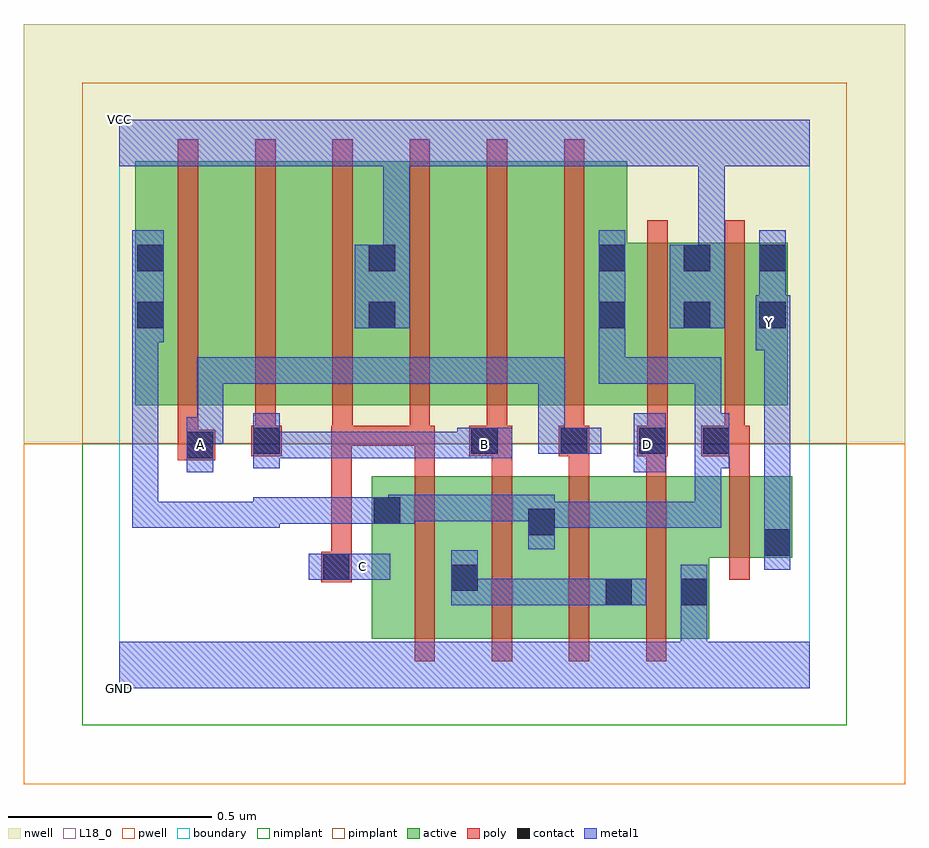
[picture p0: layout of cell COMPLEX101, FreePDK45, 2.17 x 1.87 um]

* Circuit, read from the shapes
.subckt COMPLEX101 A B C D GND VCC Y
M1 n1 C n2 VSUBS nfet w=0.4u l=0.05u
M2 n2 B n1 VSUBS nfet w=0.4u l=0.05u
M3 n1 A n2 VSUBS nfet w=0.4u l=0.05u
M4 GND D n1 VSUBS nfet w=0.4u l=0.05u
M5 Y n2 GND VSUBS nfet w=0.2u l=0.05u
M6 n3 A n2 n4 pfet w=0.6u l=0.05u
M7 n5 B n3 n4 pfet w=0.6u l=0.05u
M8 VCC C n5 n4 pfet w=0.6u l=0.05u
M9 n6 C VCC n4 pfet w=0.6u l=0.05u
M10 n7 B n6 n4 pfet w=0.6u l=0.05u
M11 n2 A n7 n4 pfet w=0.6u l=0.05u
M12 VCC D n2 n4 pfet w=0.4u l=0.05u
M13 Y n2 VCC n4 pfet w=0.4u l=0.05u
.ends

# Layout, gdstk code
import gdstk
lib = gdstk.Library(unit=1e-6, precision=1e-09)
def R(c, l, rs):  # rectangles x0, y0, x1, y1
    for r in rs: c.add(gdstk.rectangle(r[:2], r[2:], *l))
def A(c, l, x, y, w, h, nx, ny, dx, dy):  # array of equal rectangles
    R(c, l, [(x+i*dx, y+j*dy, x+i*dx+w, y+j*dy+h) for i in range(nx) for j in range(ny)])
active = (1, 0)
pwell = (2, 0)
nwell = (3, 0)
nimplant = (4, 0)
pimplant = (5, 0)
poly = (9, 0)
contact = (10, 0)
metal1 = (11, 0)
L18_0 = (18, 0)
boundary = (235, 0)

complex101 = lib.new_cell('COMPLEX101')
A(complex101, active, 0.622, 0.122, 0.265, 0.4, 3, 1, 0.19, 0)
A(complex101, active, 0.812, 0.147, 0.075, 0.345, 3, 1, 0.19, 0)
R(complex101, active, [(1.192,0.122,1.452,0.522), (0.622,0.147,0.697,0.522), (1.377,0.2,1.452,0.397), (1.377,0.322,1.657,0.522), (1.582,0.322,1.657,0.522), (0.04,0.697,0.265,1.297), (0.04,0.697,0.145,1.2), (0.265,0.697,0.455,1.297), (0.455,0.697,0.685,1.297), (0.61,0.697,0.835,1.297), (0.835,0.697,1.025,1.297), (1.025,0.697,1.25,1.297), (1.175,0.697,1.46,1.097), (1.175,0.697,1.25,1.2), (1.385,0.697,1.645,1.097), (1.57,0.697,1.645,1.097), (0.61,0.707,0.685,1.297), (1.385,0.802,1.46,1.097)])
R(complex101, pwell, [(-0.235,-0.235,1.935,0.602)])
R(complex101, nwell, [(-0.235,0.602,1.935,1.635)])
R(complex101, nimplant, [(-0.09,-0.09,1.79,0.602)])
R(complex101, pimplant, [(-0.09,0.602,1.79,1.49)])
A(complex101, poly, 0.727, 0.067, 0.05, 0.51, 4, 1, 0.19, 0)
A(complex101, poly, 0.917, 0.527, 0.05, 0.095, 3, 1, 0.19, 0)
A(complex101, poly, 0.335, 0.597, 0.05, 0.095, 5, 1, 0.19, 0)
A(complex101, poly, 0.145, 0.642, 0.05, 0.71, 6, 1, 0.19, 0)
R(complex101, poly, [(0.497,0.262,0.572,0.337), (1.502,0.267,1.552,0.577), (0.522,0.287,0.572,0.647), (0.727,0.527,0.777,0.647), (1.502,0.527,1.552,0.622), (0.145,0.562,0.237,0.637), (0.325,0.572,0.4,0.647), (0.862,0.572,0.967,0.647), (1.082,0.572,1.157,0.647), (1.275,0.572,1.35,0.647), (1.432,0.572,1.552,0.647), (0.145,0.587,0.195,0.692), (0.522,0.597,0.572,0.647), (0.522,0.597,0.572,0.647), (0.522,0.597,0.575,0.647), (0.525,0.597,0.765,0.647), (0.525,0.597,0.575,0.647), (0.525,0.597,0.575,0.647), (0.715,0.597,0.777,0.647), (1.3,0.597,1.35,0.692), (1.49,0.597,1.54,0.692), (1.3,0.642,1.35,1.152), (1.49,0.642,1.54,1.152)])
R(complex101, contact, [(1.197,0.205,1.262,0.27), (1.382,0.205,1.447,0.27), (0.817,0.24,0.882,0.305), (0.502,0.267,0.567,0.332), (1.587,0.327,1.652,0.392), (1.007,0.377,1.072,0.442), (0.627,0.405,0.692,0.47), (0.167,0.567,0.232,0.632), (0.33,0.577,0.395,0.642), (0.867,0.577,0.932,0.642), (1.087,0.577,1.152,0.642), (1.28,0.577,1.345,0.642), (1.437,0.577,1.502,0.642), (0.045,0.887,0.11,0.952), (0.615,0.887,0.68,0.952), (1.18,0.887,1.245,0.952), (1.39,0.887,1.455,0.952), (1.575,0.887,1.64,0.952), (0.045,1.027,0.11,1.092), (0.615,1.027,0.68,1.092), (1.18,1.027,1.245,1.092), (1.39,1.027,1.455,1.092), (1.575,1.027,1.64,1.092)])
R(complex101, metal1, [(0,0,1.7,0.115), (1.382,0.05,1.447,0.235), (1.382,0.17,1.447,0.305), (0.817,0.205,0.882,0.34), (0.817,0.205,0.967,0.27), (0.902,0.205,0.967,0.27), (0.902,0.205,1.072,0.27), (1.007,0.205,1.072,0.27), (1.007,0.205,1.105,0.27), (1.04,0.205,1.105,0.27), (1.04,0.205,1.227,0.27), (1.162,0.205,1.297,0.27), (0.467,0.267,0.667,0.332), (1.587,0.292,1.652,0.427), (1.007,0.342,1.072,0.477), (1.587,0.362,1.652,0.897), (0.032,0.395,0.097,0.46), (0.032,0.395,0.097,0.46), (0.032,0.395,0.097,0.46), (0.032,0.395,0.097,0.46), (0.032,0.395,0.097,0.46), (0.032,0.395,0.257,0.46), (0.032,0.395,0.097,0.917), (0.192,0.395,0.257,0.46), (0.192,0.395,0.395,0.46), (0.33,0.395,0.395,0.47), (1.007,0.395,1.105,0.46), (1.04,0.395,1.105,0.46), (1.04,0.395,1.242,0.46), (1.177,0.395,1.242,0.46), (1.177,0.395,1.242,0.46), (1.177,0.395,1.242,0.46), (1.177,0.395,1.482,0.46), (1.417,0.395,1.482,0.46), (1.417,0.395,1.482,0.677), (0.33,0.405,0.395,0.47), (0.33,0.405,0.395,0.47), (0.33,0.405,0.532,0.47), (0.467,0.405,0.532,0.47), (0.467,0.405,0.657,0.47), (0.592,0.405,0.727,0.47), (0.662,0.405,0.727,0.47), (0.662,0.405,0.727,0.477), (0.662,0.412,0.865,0.477), (0.8,0.412,0.865,0.477), (0.8,0.412,0.865,0.477), (0.8,0.412,0.865,0.477), (0.8,0.412,1.072,0.477), (0.167,0.532,0.232,0.667), (1.267,0.532,1.345,0.677), (0.33,0.542,0.395,0.677), (1.437,0.542,1.502,0.677), (0.33,0.567,0.395,0.632), (0.33,0.567,0.395,0.632), (0.33,0.567,0.532,0.632), (0.467,0.567,0.532,0.632), (0.467,0.567,0.67,0.632), (0.605,0.567,0.67,0.632), (0.605,0.567,0.67,0.632), (0.605,0.567,0.67,0.632), (0.605,0.567,0.897,0.632), (0.832,0.567,0.897,0.632), (0.832,0.567,0.897,0.632), (0.832,0.567,0.967,0.642), (1.032,0.577,1.097,0.642), (1.032,0.577,1.117,0.642), (1.032,0.577,1.097,0.815), (1.052,0.577,1.187,0.642), (0.167,0.602,0.257,0.667), (0.192,0.602,0.257,0.667), (0.192,0.602,0.257,0.815), (1.417,0.612,1.482,0.677), (1.417,0.612,1.502,0.677), (1.417,0.612,1.482,0.815), (0.192,0.75,0.257,0.815), (0.192,0.75,0.395,0.815), (0.33,0.75,0.395,0.815), (0.33,0.75,0.395,0.815), (0.33,0.75,0.395,0.815), (0.33,0.75,0.532,0.815), (0.467,0.75,0.532,0.815), (0.467,0.75,0.67,0.815), (0.605,0.75,0.67,0.815), (0.605,0.75,0.67,0.815), (0.605,0.75,0.67,0.815), (0.605,0.75,0.935,0.815), (0.87,0.75,0.935,0.815), (0.87,0.75,0.935,0.815), (0.87,0.75,0.935,0.815), (0.87,0.75,1.097,0.815), (1.032,0.75,1.097,0.815), (1.18,0.75,1.482,0.815), (1.18,0.75,1.245,0.917), (1.417,0.75,1.482,0.815), (1.567,0.832,1.652,0.967), (0.032,0.852,0.11,1.127), (1.18,0.852,1.245,0.917), (1.18,0.852,1.245,1.127), (1.575,0.852,1.64,0.917), (1.575,0.852,1.64,1.127), (0.58,0.887,0.715,1.092), (1.355,0.887,1.49,1.092), (0.65,1.027,0.715,1.35), (1.425,1.027,1.49,1.35), (0,1.285,1.7,1.4), (1.425,1.285,1.49,1.35), (1.425,1.285,1.49,1.35)])
R(complex101, L18_0, [(0,0,1.7,0.115), (1.382,0.05,1.447,0.235), (1.382,0.17,1.447,0.305), (0.467,0.267,0.667,0.332), (0.567,0.267,0.632,0.332), (1.587,0.292,1.652,0.427), (1.587,0.362,1.652,0.897), (0.167,0.532,0.232,0.667), (1.267,0.532,1.345,0.677), (0.33,0.542,0.395,0.677), (0.167,0.567,0.232,0.632), (0.33,0.567,0.395,0.632), (0.33,0.567,0.395,0.632), (0.33,0.567,0.532,0.632), (0.467,0.567,0.532,0.632), (0.467,0.567,0.67,0.632), (0.605,0.567,0.67,0.632), (0.605,0.567,0.67,0.632), (0.605,0.567,0.67,0.632), (0.605,0.567,0.897,0.632), (0.832,0.567,0.897,0.632), (0.832,0.567,0.897,0.632), (0.832,0.567,0.967,0.642), (0.867,0.567,0.932,0.632), (1.267,0.567,1.332,0.632), (1.032,0.577,1.097,0.642), (1.032,0.577,1.097,0.815), (1.032,0.577,1.117,0.642), (1.052,0.577,1.187,0.642), (0.167,0.602,0.257,0.667), (0.192,0.602,0.257,0.667), (0.192,0.602,0.257,0.815), (0.192,0.75,0.257,0.815), (0.192,0.75,0.395,0.815), (0.33,0.75,0.395,0.815), (0.33,0.75,0.395,0.815), (0.33,0.75,0.395,0.815), (0.33,0.75,0.532,0.815), (0.467,0.75,0.532,0.815), (0.467,0.75,0.67,0.815), (0.605,0.75,0.67,0.815), (0.605,0.75,0.67,0.815), (0.605,0.75,0.67,0.815), (0.605,0.75,0.935,0.815), (0.87,0.75,0.935,0.815), (0.87,0.75,0.935,0.815), (0.87,0.75,0.935,0.815), (0.87,0.75,1.097,0.815), (1.032,0.75,1.097,0.815), (1.567,0.832,1.652,0.967), (1.575,0.852,1.64,0.917), (1.575,0.852,1.64,1.127), (1.567,0.867,1.632,0.932), (0.58,0.887,0.715,1.092), (1.355,0.887,1.49,1.092), (0.65,1.027,0.715,1.35), (1.425,1.027,1.49,1.35), (0,1.285,1.7,1.4), (1.425,1.285,1.49,1.35), (1.425,1.285,1.49,1.35)])
R(complex101, boundary, [(0,0,1.7,1.4)])
complex101.add(gdstk.Label('A', (0.2,0.6), layer=11, texttype=0))
complex101.add(gdstk.Label('B', (0.9,0.6), layer=11, texttype=0))
complex101.add(gdstk.Label('C', (0.6,0.3), layer=11, texttype=0))
complex101.add(gdstk.Label('D', (1.3,0.6), layer=11, texttype=0))
complex101.add(gdstk.Label('Y', (1.6,0.9), layer=11, texttype=0))
complex101.add(gdstk.Label('VCC', (0,1.4), layer=11, texttype=0))
complex101.add(gdstk.Label('GND', (0,0), layer=11, texttype=0))

lib.write_gds('COMPLEX101.gds')
